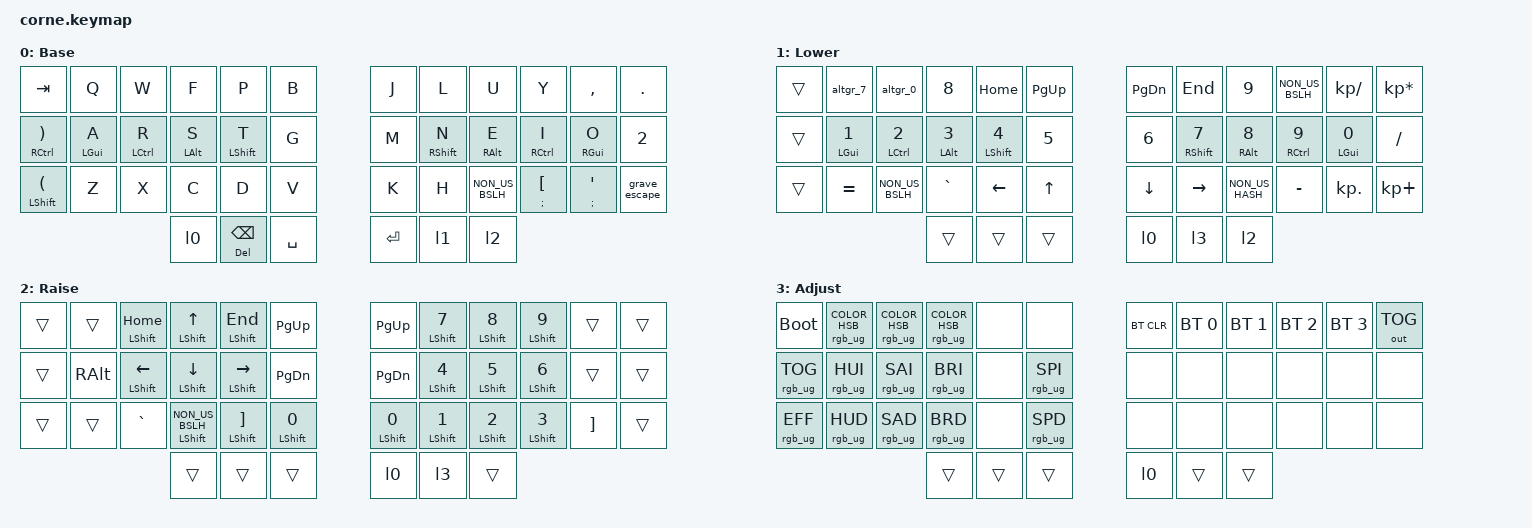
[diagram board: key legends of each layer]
/*
 * Corne Choc v2.5 (Keebmaker) — ZMK keymap
 * Ported from Vial (corne.vil). See CHANGES-from-vial.md for every
 * QMK -> ZMK translation decision and the lossy conversions.
 *
 * Layers: 0 base (Colemak-DH) / 1 lower (num+nav) / 2 raise (shifted nav)
 *         3 adjust (RGB, Bluetooth, bootloader)
 *
 * Per-layer colour: each layer is entered through an &lN macro that switches
 * the layer AND sets the underglow colour in one shot. Toggle-based (&to),
 * matching the original TO() navigation, so exactly one colour is active at a
 * time and it is set reliably on every switch.
 */

#include <behaviors.dtsi>
#include <dt-bindings/zmk/keys.h>
#include <dt-bindings/zmk/rgb.h>
#include <dt-bindings/zmk/bt.h>
#include <dt-bindings/zmk/outputs.h>

/ {
    behaviors {
        // Generic keycode-on-hold / keycode-on-tap. ZMK has no QMK-style
        // multi-action tap dance; the original tap dances that were really
        // just "tap X, hold Y" map cleanly onto this hold-tap.
        hk: hold_key {
            compatible = "zmk,behavior-hold-tap";
            #binding-cells = <2>;
            flavor = "tap-preferred";
            tapping-term-ms = <200>;
            quick-tap-ms = <175>;
            bindings = <&kp>, <&kp>;
        };

        // Grave-escape: ESC normally, GRAVE (`/~) when Shift or GUI is held.
        grave_escape: grave_escape {
            compatible = "zmk,behavior-mod-morph";
            #binding-cells = <0>;
            bindings = <&kp ESC>, <&kp GRAVE>;
            mods = <(MOD_LSFT|MOD_RSFT|MOD_LGUI|MOD_RGUI)>;
        };
    };

    macros {
        // Layer switch + underglow, in one binding.
        // Base = LEDs OFF (saves battery); lower = blue, raise = green,
        // adjust = red. Non-base macros RGB_ON first, since base turned it off.
        l0: layer0 {
            compatible = "zmk,behavior-macro";
            #binding-cells = <0>;
            bindings = <&to 0>, <&rgb_ug RGB_OFF>;
        };
        l1: layer1 {
            compatible = "zmk,behavior-macro";
            #binding-cells = <0>;
            bindings = <&to 1>, <&rgb_ug RGB_ON>, <&rgb_ug RGB_COLOR_HSB(225,100,60)>;
        };
        l2: layer2 {
            compatible = "zmk,behavior-macro";
            #binding-cells = <0>;
            bindings = <&to 2>, <&rgb_ug RGB_ON>, <&rgb_ug RGB_COLOR_HSB(120,100,60)>;
        };
        l3: layer3 {
            compatible = "zmk,behavior-macro";
            #binding-cells = <0>;
            bindings = <&to 3>, <&rgb_ug RGB_ON>, <&rgb_ug RGB_COLOR_HSB(0,100,60)>;
        };

        // AltGr+7 and AltGr+0 (Vial macros M0/M1). On a Norwegian layout these
        // produce { and }. The QMK key_override on M0 (-> 8 under mods) has no
        // ZMK equivalent and is dropped — see CHANGES-from-vial.md.
        altgr_7: altgr_7 {
            compatible = "zmk,behavior-macro";
            #binding-cells = <0>;
            bindings = <&macro_press &kp RALT>
                     , <&macro_tap &kp N7>
                     , <&macro_release &kp RALT>;
        };
        altgr_0: altgr_0 {
            compatible = "zmk,behavior-macro";
            #binding-cells = <0>;
            bindings = <&macro_press &kp RALT>
                     , <&macro_tap &kp N0>
                     , <&macro_release &kp RALT>;
        };
    };

    combos {
        compatible = "zmk,combos";
        // Vial combo: LSPO + Backspace -> Delete. Positions: left-shift (24)
        // + backspace thumb (37).
        combo_del {
            timeout-ms = <50>;
            key-positions = <24 37>;
            bindings = <&kp DEL>;
            layers = <0>;
        };
    };

    keymap {
        compatible = "zmk,keymap";

        base_layer {
            display-name = "Base";
            bindings = <
&kp TAB         &kp Q       &kp W       &kp F       &kp P       &kp B         &kp J          &kp L       &kp U          &kp Y          &kp COMMA   &kp DOT
&mt RCTRL RPAR &mt LGUI A  &mt LCTRL R &mt LALT S  &mt LSHFT T &kp G         &kp M          &mt RSHFT N &mt RALT E     &mt RCTRL I    &mt RGUI O  &kp N2
&mt LSHFT LPAR &kp Z       &kp X       &kp C       &kp D       &kp V         &kp K          &kp H       &kp NON_US_BSLH &hk SEMI LBKT &hk SEMI SQT &grave_escape
                                       &l0         &hk DEL BSPC &kp SPACE    &kp RET        &l1         &l2
            >;
        };

        lower_layer {
            display-name = "Lower";
            bindings = <
&trans      &altgr_7      &altgr_0      &kp N8        &kp HOME    &kp PG_UP     &kp PG_DN   &kp END      &kp N9       &kp NON_US_BSLH &kp KP_DIVIDE &kp KP_MULTIPLY
&trans      &mt LGUI N1   &mt LCTRL N2  &mt LALT N3   &mt LSHFT N4 &kp N5       &kp N6      &mt RSHFT N7 &mt RALT N8  &mt RCTRL N9    &mt LGUI N0   &kp SLASH
&trans      &kp EQUAL     &kp NON_US_BSLH &kp GRAVE   &kp LEFT    &kp UP        &kp DOWN    &kp RIGHT    &kp NON_US_HASH &kp MINUS    &kp KP_DOT    &kp KP_PLUS
                                        &trans        &trans      &trans        &l0         &l3          &l2
            >;
        };

        raise_layer {
            display-name = "Raise";
            bindings = <
&trans      &trans        &mt LSHFT HOME &mt LSHFT UP  &mt LSHFT END &kp PG_UP   &kp PG_UP   &mt LSHFT N7 &mt LSHFT N8 &mt LSHFT N9 &trans      &trans
&trans      &kp RALT      &mt LSHFT LEFT &mt LSHFT DOWN &mt LSHFT RIGHT &kp PG_DN &kp PG_DN  &mt LSHFT N4 &mt LSHFT N5 &mt LSHFT N6 &trans      &trans
&trans      &trans        &kp GRAVE     &mt LSHFT NON_US_BSLH &mt LSHFT RBKT &mt LSHFT N0 &mt LSHFT N0 &mt LSHFT N1 &mt LSHFT N2 &mt LSHFT N3 &kp RBKT &trans
                                        &trans        &trans      &trans        &l0         &l3          &trans
            >;
        };

        adjust_layer {
            display-name = "Adjust";
            bindings = <
&bootloader &rgb_ug RGB_COLOR_HSB(120,100,60) &rgb_ug RGB_COLOR_HSB(0,100,60) &rgb_ug RGB_COLOR_HSB(225,100,60) &none &none   &bt BT_CLR &bt BT_SEL 0 &bt BT_SEL 1 &bt BT_SEL 2 &bt BT_SEL 3 &out OUT_TOG
&rgb_ug RGB_TOG &rgb_ug RGB_HUI &rgb_ug RGB_SAI &rgb_ug RGB_BRI &none &rgb_ug RGB_SPI                                       &none      &none        &none        &none        &none        &none
&rgb_ug RGB_EFF &rgb_ug RGB_HUD &rgb_ug RGB_SAD &rgb_ug RGB_BRD &none &rgb_ug RGB_SPD                                       &none      &none        &none        &none        &none        &none
                                        &trans        &trans      &trans        &l0         &trans       &trans
            >;
        };
    };
};

// Home-row mods and every LSFT_T(...) key use the built-in &mt. Tune it for
// home-row use so quick letter rolls don't accidentally fire modifiers.
&mt {
    flavor = "tap-preferred";
    tapping-term-ms = <200>;
    quick-tap-ms = <175>;
};
